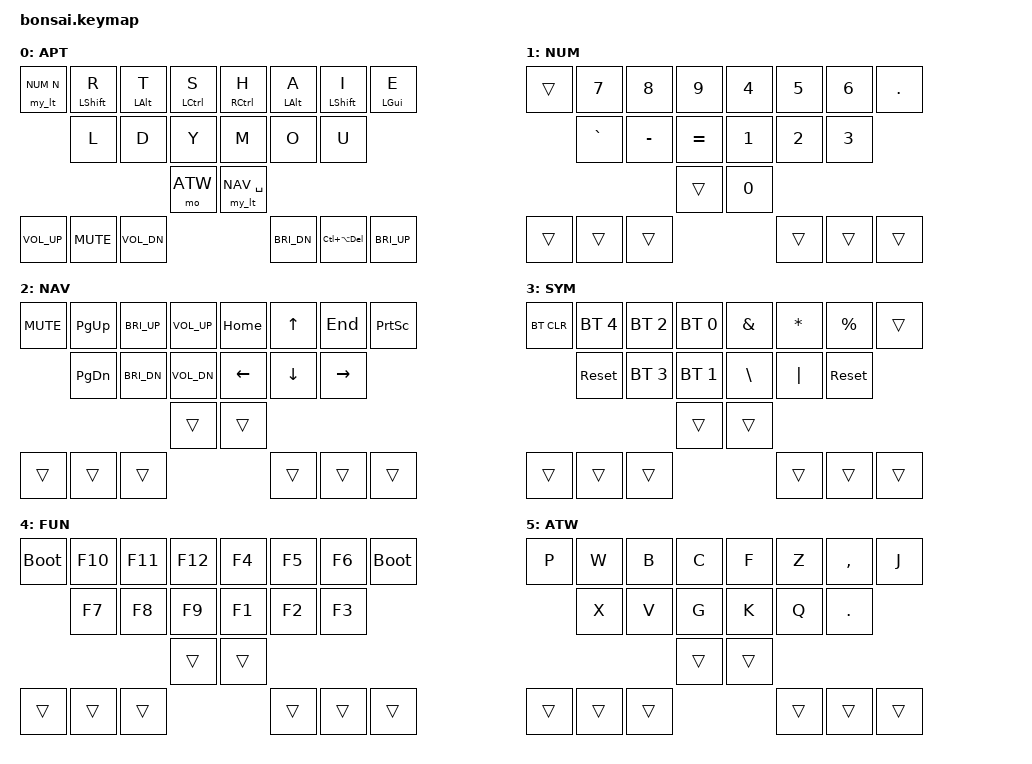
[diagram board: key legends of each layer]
#include <behaviors.dtsi>
#include <dt-bindings/zmk/keys.h>
#include <dt-bindings/zmk/bt.h>
#include <dt-bindings/zmk/outputs.h>

#define APT 0
#define NUM 1
#define NAV 2
#define SYM 3
#define FUN 4
#define ATW 5

// &lt {
//     quick_tap_ms = <160>;
// };

&caps_word {
    continue-list = <UNDERSCORE MINUS BSPC LSHFT RSHFT>;
};

/ {
    macros {
    numshift: numshift {
	label = "Num_Shift";
	compatible = "zmk,behavior-macro";
	#binding-cells = <0>;
	bindings
		= <&macro_press &mo NUM &kp LSHFT>
		, <&macro_pause_for_release>
		, <&macro_release &mo NUM &kp LSHFT>
		;
	};
    };
};


#define COMBO(NAME, BINDINGS, KEYPOS) \
combo_##NAME { \
    timeout-ms = <20>; \
    bindings = <BINDINGS>; \
    key-positions = <KEYPOS>; \
};

// ________________________  ________________________
// |  0  |  1  |  2  |  3 |  |  4 |   5 |   6 |   7 |
// |_____|  8  |  9  | 10 |  | 11 |  12 |  13 |_____|
//  \________________| 14 |  | 15 |________________/  
//   ( 16 | 17 | 18  )             ( 19 | 20 | 21 ) 
//
//  Note the 3-way switches (optional) are at the bottom;
//  the 'fourth row' if you will

/{
    combos {
        compatible = "zmk,combos";
//Basics	
	COMBO(esc, &kp ESC, 8 9)
	COMBO(tab, &kp TAB, 9 10)
	COMBO(lenter, &kp ENTER, 8 9 10)
	COMBO(renter, &kp ENTER, 11 12 13)
	COMBO(backspace, &kp BSPC, 11 12)
	COMBO(delete, &kp DEL, 12 13)
	COMBO(bword, &kp RC(BSPC), 11 13)
//Punctuation
	COMBO(slashq, &kp SLASH, 6 7)
	COMBO(quotemark, &kp SQT, 5 7)
	COMBO(bkslash, &kp BACKSLASH, 6 13)
	COMBO(lbracket, &kp LBKT, 3 10)
	COMBO(rbracket, &kp RBKT, 4 11)
	COMBO(semi, &kp SEMI, 5 12)
//Layers
//	COMBO(num-toggle, &mo NUM, 0 14)
	COMBO(shiftnum, &numshift, 0 1)	
	COMBO(fun-toggle, &mo FUN, 14 15)
	COMBO(xtra-toggle, &mo SYM, 7 15)
//Home Row Combos
	COMBO(ca-left, &kp LC(LALT), 2 3)
	COMBO(cs-left, &kp LC(LSHIFT), 1 3)
	COMBO(as-left, &kp LS(LALT), 1 2)
	COMBO(ca-right, &kp RC(RALT), 4 5)
	COMBO(cs-right, &kp RC(RSHIFT), 4 6)
	COMBO(as-right, &kp RS(RALT), 5 6)
    };
};

// ________________________  ________________________
// |  0  |  1  |  2  |  3 |  |  4 |   5 |   6 |   7 |
// |_____|  8  |  9  | 10 |  | 11 |  12 |  13 |_____|
//  \________________| 14 |  | 15 |________________/  
//   ( 16 | 17 | 18  )             ( 19 | 20 | 21 ) 
//


/ {

    behaviors {
        hl: homerow_mods_left {
            compatible = "zmk,behavior-hold-tap";
            label = "homerow mods left";
            #binding-cells = <2>;
            // flavor = "tap-preferred";
            flavor = "balanced";
            tapping-term-ms = <150>;
            quick-tap-ms = <100>;
            // global-quick-tap;
            bindings = <&kp>, <&kp>;
            // opposite side hand keys
            hold-trigger-key-positions = <4 5 6 7 11 12 13 14 15 16 17>;
        };
        hr: homerow_mods_right {
            compatible = "zmk,behavior-hold-tap";
            label = "homerow mods right";
            #binding-cells = <2>;
            // flavor = "tap-preferred";
            flavor = "balanced";
            tapping-term-ms = <150>;
            quick-tap-ms = <100>;
            // global-quick-tap;
            bindings = <&kp>, <&kp>;
            // opposite side hand keys
            hold-trigger-key-positions = <0 1 2 3 8 9 10 14 15 16 17>;
        };

        my_lt: my_layer_taps {
            compatible = "zmk,behavior-hold-tap";
            label = "my layer taps";
            #binding-cells = <2>;
            // flavor = "tap-preferred";
            flavor = "balanced";
            tapping-term-ms = <150>;
            quick-tap-ms = <100>;
            // global-quick-tap;
            bindings = <&mo &kp>, <&kp>;
            // non-thumb keys
            // hold-trigger-key-positions = <0 1 2 3 4 5 6 7 8 9 10 11 12 13>;
        };

        dotcol: dot_colon {
            compatible = "zmk,behavior-mod-morph";
            label = "DOT_COL";
            #binding-cells = <0>;
            bindings = <&kp DOT>, <&kp COLON>;
            mods = <(MOD_LSFT|MOD_RSFT)>;
        };
        comsem: comma_semicolon {
            compatible = "zmk,behavior-mod-morph";
            label = "COM_SEM";
            #binding-cells = <0>;
            bindings = <&kp COMMA>, <&kp SEMI>;
            mods = <(MOD_LSFT|MOD_RSFT)>;
        };

	/*
	// CAVE: this thing doesn't know about macro execution length,
	// so might lead to outputs like "ScH" while holding shift
	modmorphsch: modmorph_sch {
	    compatible = "zmk,behavior-mod-morph";
	    label = "MODMORPH SCH";
	    #binding-cells = <0>;
	    bindings = <&macro_sch>, <&macro_shifted_sch>;
	    mods = <(MOD_LSFT|MOD_RSFT)>;
	};
	// */
    };
};


// ________________________  ________________________
// |  0  |  1  |  2  |  3 |  |  4 |   5 |   6 |   7 |
// |_____|  8  |  9  | 10 |  | 11 |  12 |  13 |_____|
//  \________________| 14 |  | 15 |________________/  
//   ( 16 | 17 | 18  )             ( 19 | 20 | 21 ) 
//

/ {
    keymap {
        compatible = "zmk,keymap";

        aptmak {
            label = "APT";

            bindings = <
                &my_lt NUM N    &hl LSHIFT R    &hl LALT T     &hl LCTRL S       &hr RCTRL H    &hr LALT A     &hr LSHIFT I     &hr LGUI E
                                &kp L	        &kp D          &kp Y             &kp M          &kp O          &kp U
							                                   &mo ATW       	 &my_lt NAV SPACE
		&kp C_VOL_UP       &kp C_MUTE        &kp C_VOL_DN                          &kp C_BRI_DN      &kp LC(LA(DEL))         &kp C_BRI_UP
            >;
        };
        numbers {
            label = "NUM";

            bindings = <
                &trans		 &kp N7        &kp N8        &kp N9                 &kp N4         &kp N5         &kp N6         &kp PERIOD
                             &kp GRAVE     &kp MINUS     &kp EQUAL              &kp N1         &kp N2         &kp N3
                                                         &trans                 &kp N0 
							 &trans        &trans        &trans                 &trans         &trans         &trans
            >;
        };
        navigation {
            label = "NAV";

            bindings = <
                &kp C_MUTE     &kp PG_UP      &kp C_BRI_UP      &kp C_VOL_UP       &kp HOME       &kp UP         &kp END          &kp PSCRN
                               &kp PG_DN      &kp C_BRI_DN      &kp C_VOL_DN       &kp LEFT       &kp DOWN       &kp RIGHT
																&trans             &trans		 
						        &trans        &trans        &trans                 &trans         &trans         &trans
            >;
        };
        symbols {
            label = "SYM";

            bindings = <
                &bt BT_CLR     &bt BT_SEL 4    &bt BT_SEL 2    &bt BT_SEL 0        &kp AMPERSAND  &kp ASTERISK   &kp PERCENT    &trans
                                 &sys_reset    &bt BT_SEL 3    &bt BT_SEL 1        &kp BACKSLASH  &kp PIPE       &sys_reset
								                               &trans           &trans
							 &trans        &trans        &trans                 &trans         &trans         &trans
            >;
        };
        function {
            label = "FUN";

            bindings = <
                &bootloader    &kp F10        &kp F11        &kp F12            &kp F4         &kp F5         &kp F6         &bootloader
                               &kp F7         &kp F8         &kp F9             &kp F1         &kp F2         &kp F3
							                                 &trans      	&trans
				&trans        &trans        &trans                 &trans         &trans         &trans
            >;
        };
        alphatwo {
            label = "ATW";

            bindings = <
                &kp P		&kp W         &kp B          &kp C              &kp F          &kp Z          &kp COMMA         &kp J
                            &kp X         &kp V          &kp G              &kp K          &kp Q          &kp PERIOD
														 &trans             &trans         
							 &trans        &trans        &trans             &trans         &trans         &trans
            >;
        };
    };
};
